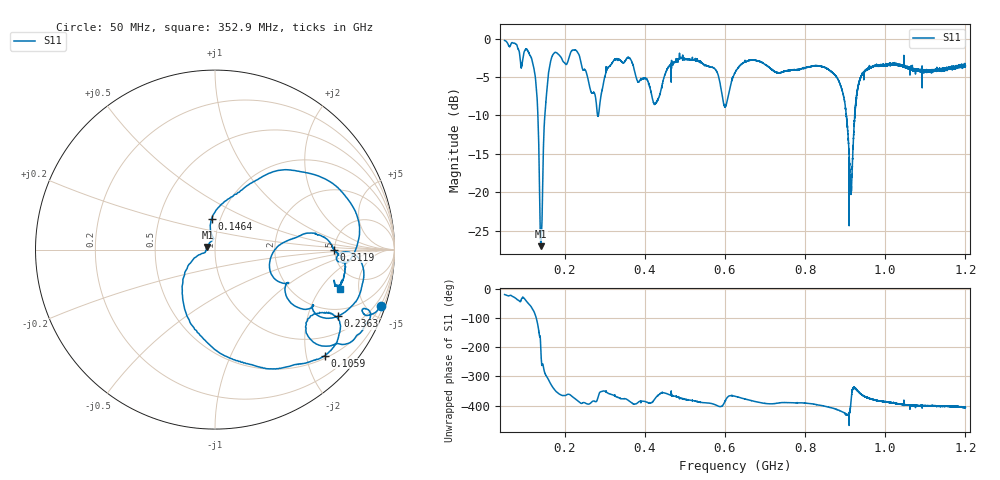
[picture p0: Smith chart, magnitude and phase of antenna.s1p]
! Calibrated high-resolution NanoVNA antenna measurement
# Hz S RI R 50
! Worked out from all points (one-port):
!   40001 points, 50 MHz to 1.2 GHz, reference 50 ohm
!   lowest |S11| = -27.0 dB at 140.3 MHz (marker M1), VSWR 1.09, Z = 46 + j1.41 ohm
!   |S11| at or under -10 dB: 133.1 MHz to 150.4 MHz (17.36 MHz wide, 12.2 % of centre); 282.1 MHz to 284 MHz (1.903 MHz wide, 0.672 % of centre); 903 MHz to 923.7 MHz (20.65 MHz wide, 2.26 % of centre)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
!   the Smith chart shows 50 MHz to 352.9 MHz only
!   S11 on the Smith chart (normalised r, x): 50 MHz: 0.48, -6.00; 105.9 MHz: 0.55, -2.37; 146.4 MHz: 0.91, +0.32; 236.3 MHz: 1.66, -3.13; 311.9 MHz: 4.91, -0.00; 352.9 MHz: 3.34, -3.14
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5e7  0.9225 -0.3139
1.059188e8  0.6135 -0.5909
1.275388e8  -0.0271 -0.5329
1.40275e8  -0.0418 0.0153
1.463988e8  -0.0185 0.1727
1.630162e8  0.5251 0.4251
1.7581e8  0.7954 0.1766
1.9375e8  0.7258 -0.0732
2.363e8  0.6844 -0.3707
2.8207e8  0.3034 -0.0892
3.119412e8  0.6616 -0.000148
3.375e8  0.7034 -0.1875
3.528812e8  0.6975 -0.2187
4.22485e8  0.35 -0.1414
4.45715e8  0.5333 0.0382
4.8125e8  0.7146 -0.1344
5.781088e8  0.484 -0.3874
5.954738e8  0.31 -0.2372
6.25e8  0.5949 -0.0861
6.909525e8  0.6043 -0.3606
7.6875e8  0.5415 -0.3161
8.80185e8  0.3243 -0.447
8.9916e8  0.156 -0.3474
9.125e8  0.0748 -0.0927
9.254088e8  0.3321 0.1219
9.426875e8  0.5946 -0.0409
1.05625e9  0.5133 -0.3978
1.2e9  0.4702 -0.5071
